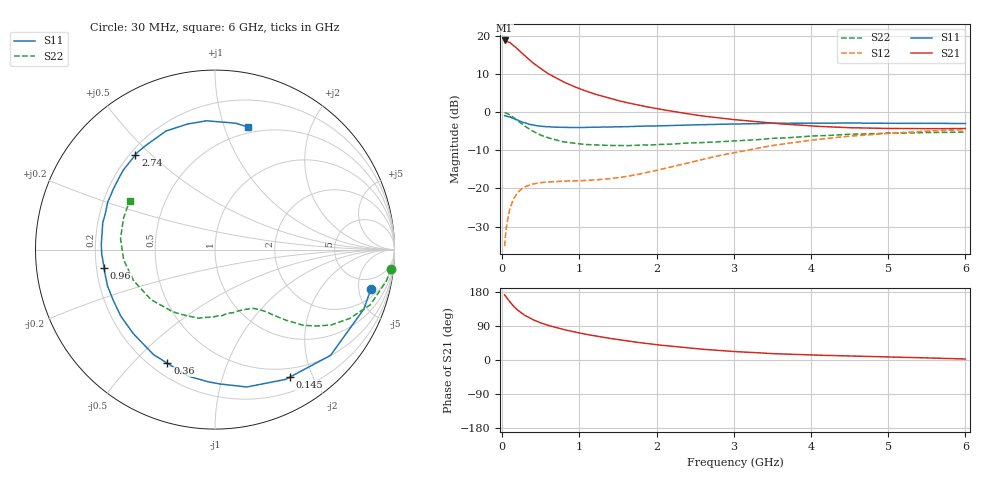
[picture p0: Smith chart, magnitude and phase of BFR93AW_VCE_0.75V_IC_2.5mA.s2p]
! Infineon Technologies  Discrete & RF Semiconductors
! BFR93AW
! VCE = 0.75 V,  IC =  2.5 mA
! Common Emitter S-Parameters:  Nov 2015
# GHz  S  MA  R  50
!  f  S11  S21  S12  S22
! GHz  MAG  ANG  MAG  ANG  MAG  ANG  MAG  ANG
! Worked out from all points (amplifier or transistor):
!   206 points, 30 MHz to 6 GHz, reference 50 ohm
!   highest |S21| = 18.8 dB at 30 MHz (marker M1)
!   |S21| within 3 dB of that: start of sweep to 237.1 MHz
!   unconditionally stable (mu >= 1): 1.121 GHz to 2.751 GHz; 5.115 GHz to end of sweep
!   at 200 MHz: K = 0.20, MSG = 18.8 dB, |S12| = -21.1 dB
!   at 1.56 GHz: K = 1.19, MAG = 7.2 dB, |S12| = -17.0 dB
!   at 6 GHz: K = 1.02, MAG = -0.7 dB, |S12| = -4.6 dB
!   S11 on the Smith chart (normalised r, x): 30 MHz: 3.07, -6.77; 145 MHz: 0.38, -1.69; 360 MHz: 0.26, -0.63; 960 MHz: 0.23, -0.08; 2.74 GHz: 0.22, +0.45; 6 GHz: 0.44, +1.20
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0.03  0.8962 -14.0  8.661 171.6  0.0175 82.1  0.9852 -6.3
0.05  0.8931 -21.7  8.562 165.8  0.0292 77.2  0.9713 -10.3
0.1  0.8729 -42.5  8.137 152.8  0.0549 67.9  0.9178 -19.6
0.145  0.8237 -59.5  7.456 142.3  0.0718 58.7  0.8498 -26.3
0.15  0.823 -61.5  7.397 141.0  0.0738 58.0  0.843 -27.1
0.2  0.7858 -76.9  6.668 131.6  0.0883 50.7  0.7712 -33.0
0.26  0.7377 -92.8  5.837 122.1  0.0999 44.2  0.69 -38.0
0.3  0.7208 -102.1  5.364 116.7  0.1055 40.9  0.6459 -40.7
0.36  0.6866 -112.7  4.752 110.8  0.1107 37.3  0.5922 -43.0
0.4  0.678 -120.3  4.378 106.0  0.1144 35.2  0.5571 -44.9
0.5  0.653 -134.2  3.688 97.6  0.1191 31.7  0.4966 -47.9
0.6  0.6427 -144.7  3.158 90.9  0.1215 30.2  0.4573 -49.9
0.8  0.6322 -161.3  2.464 80.0  0.1247 29.5  0.4063 -54.7
0.96  0.626 -170.7  2.1 73.1  0.1257 31.3  0.3871 -58.0
1.04  0.6277 -175.0  1.955 69.7  0.1265 32.5  0.3795 -60.3
1.5  0.6432 166.3  1.413 53.8  0.1378 42.3  0.3657 -74.1
2.02  0.6593 149.2  1.098 39.8  0.1739 52.7  0.3755 -91.7
2.74  0.6893 130.0  0.854 26.2  0.259 56.5  0.4044 -116.3
3.1  0.698 121.4  0.779 21.4  0.307 54.5  0.422 -128.0
4.1  0.7154 100.8  0.649 12.7  0.4386 42.9  0.4879 -162.0
5.1  0.7117 85.6  0.609 7.5  0.5321 29.0  0.53 170.7
6  0.7069 75.0  0.609 2.6  0.5912 17.9  0.5482 150.1
